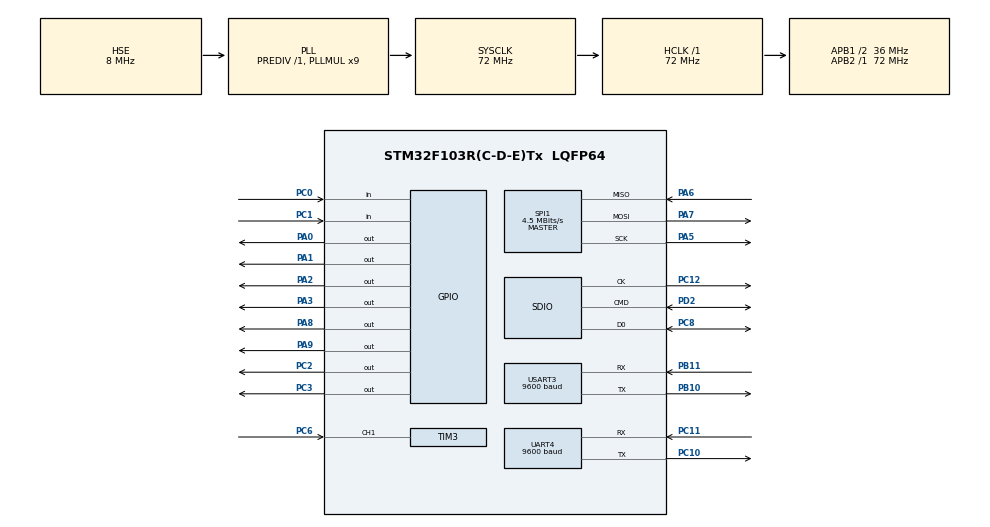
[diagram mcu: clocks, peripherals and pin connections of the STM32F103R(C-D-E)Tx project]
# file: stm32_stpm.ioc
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Mcu.Family=STM32F1
Mcu.Name=STM32F103R(C-D-E)Tx
Mcu.Package=LQFP64
NVIC.PriorityGroup=NVIC_PRIORITYGROUP_4
NVIC.TIM3_IRQn=true\:0\:0\:false\:false\:true\:true\:true\:true
NVIC.UART4_IRQn=true\:0\:0\:false\:false\:true\:true\:true\:true
PA0-WKUP.Signal=GPIO_Output
PA1.Signal=GPIO_Output
PA13.Mode=JTAG_5_pin
PA13.Signal=SYS_JTMS-SWDIO
PA14.Mode=JTAG_5_pin
PA14.Signal=SYS_JTCK-SWCLK
PA15.Mode=JTAG_5_pin
PA15.Signal=SYS_JTDI
PA2.Signal=GPIO_Output
PA3.PinState=GPIO_PIN_SET
PA3.Signal=GPIO_Output
PA4.Signal=SPI1_NSS
PA5.Mode=Full_Duplex_Master
PA5.Signal=SPI1_SCK
PA6.Mode=Full_Duplex_Master
PA6.Signal=SPI1_MISO
PA7.Mode=Full_Duplex_Master
PA7.Signal=SPI1_MOSI
PA8.Signal=GPIO_Output
PA9.Signal=GPIO_Output
PB10.Mode=Asynchronous
PB10.Signal=USART3_TX
PB11.Mode=Asynchronous
PB11.Signal=USART3_RX
PB3.Mode=JTAG_5_pin
PB3.Signal=SYS_JTDO-TRACESWO
PB4.Mode=JTAG_5_pin
PB4.Signal=SYS_NJTRST
PC0.Signal=GPIO_Input
PC1.Signal=GPIO_Input
PC10.Mode=Asynchronous
PC10.Signal=UART4_TX
PC11.Mode=Asynchronous
PC11.Signal=UART4_RX
PC12.Mode=SD_1_bit
PC12.Signal=SDIO_CK
PC14-OSC32_IN.Mode=LSE-External-Oscillator
PC14-OSC32_IN.Signal=RCC_OSC32_IN
PC15-OSC32_OUT.Mode=LSE-External-Oscillator
PC15-OSC32_OUT.Signal=RCC_OSC32_OUT
PC2.Signal=GPIO_Output
PC3.Signal=GPIO_Output
PC6.Signal=S_TIM3_CH1
PC8.Mode=SD_1_bit
PC8.Signal=SDIO_D0
PD0-OSC_IN.Mode=HSE-External-Oscillator
PD0-OSC_IN.Signal=RCC_OSC_IN
PD1-OSC_OUT.Mode=HSE-External-Oscillator
PD1-OSC_OUT.Signal=RCC_OSC_OUT
PD2.Mode=SD_1_bit
PD2.Signal=SDIO_CMD
ProjectManager.HeapSize=0x4000
ProjectManager.StackSize=0x2000
ProjectManager.TargetToolchain=MDK-ARM V5.27
RCC.AHBFreq_Value=72000000
RCC.APB1CLKDivider=RCC_HCLK_DIV2
RCC.APB1Freq_Value=36000000
RCC.APB1TimFreq_Value=72000000
RCC.APB2Freq_Value=72000000
RCC.APB2TimFreq_Value=72000000
RCC.HCLKFreq_Value=72000000
RCC.PLLMUL=RCC_PLL_MUL9
RCC.PLLSourceVirtual=RCC_PLLSOURCE_HSE
RCC.SYSCLKFreq_VALUE=72000000
RCC.SYSCLKSource=RCC_SYSCLKSOURCE_PLLCLK
RCC.USBFreq_Value=48000000
RCC.USBPrescaler=RCC_USBPLLCLK_DIV1_5
SH.S_TIM3_CH1.0=TIM3_CH1,Input_Capture1_from_TI1
SPI1.BaudRatePrescaler=SPI_BAUDRATEPRESCALER_16
SPI1.CLKPhase=SPI_PHASE_2EDGE
SPI1.CLKPolarity=SPI_POLARITY_HIGH
SPI1.CRCCalculation=SPI_CRCCALCULATION_DISABLED
SPI1.CalculateBaudRate=4.5 MBits/s
SPI1.Direction=SPI_DIRECTION_2LINES
SPI1.Mode=SPI_MODE_MASTER
SPI1.VirtualType=VM_MASTER
TIM3.Channel-Input_Capture1_from_TI1=TIM_CHANNEL_1
UART4.BaudRate=9600
UART4.VirtualMode=Asynchronous
USART3.BaudRate=9600
USART3.VirtualMode=VM_ASYNC
VP_FATFS_VS_SDIO.Mode=SDIO
VP_RTC_No_RTC_Output.Mode=RTC OUT
VP_TIM3_VS_ClockSourceINT.Mode=Internal
board=stm32_stpm

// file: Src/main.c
/* USER CODE BEGIN Header */
/**
  ******************************************************************************
  * @file           : main.c
  * @brief          : Main program body
  ******************************************************************************
  * @attention
  *
  * Copyright (c) 2025 STMicroelectronics.
  * All rights reserved.
  *
  * This software is licensed under terms that can be found in the LICENSE file
  * in the root directory of this software component.
  * If no LICENSE file comes with this software, it is provided AS-IS.
  *
  ******************************************************************************
  */
/* USER CODE END Header */
#include "main.h"
#include "fatfs.h"

/* USER CODE BEGIN Includes */
/* Includes ------------------------------------------------------------------*/
#include "stm32f1xx_hal.h"
#include "metroTask.h"
#include "st_device.h"
#include "stdio.h"

/* USER CODE END Includes */

RTC_HandleTypeDef hrtc;

SD_HandleTypeDef hsd;

SPI_HandleTypeDef hspi1;

TIM_HandleTypeDef htim3;

UART_HandleTypeDef huart4;
UART_HandleTypeDef huart3;

/* USER CODE BEGIN PV */
/* Private variables ---------------------------------------------------------*/
TIM_HandleTypeDef htim3;
/* Private variables ---------------------------------------------------------*/
uint32_t uwPrescalerValue = 0;

char gauta_komanda=0;
int timerio_laikas;
char patikra=0;
int laikas1=0;
long long int galia_mW;
long long int itampa_mV;
long long int srove_mA;

char i=0;
	char myData[27] ;

RTC_TimeTypeDef currentTime;
/* USER CODE END PV */

void SystemClock_Config(void);
static void MX_GPIO_Init(void);
static void MX_SPI1_Init(void);
static void MX_TIM3_Init(void);
static void MX_USART3_UART_Init(void);
static void MX_UART4_Init(void);
static void MX_RTC_Init(void);
static void MX_SDIO_SD_Init(void);
/* USER CODE BEGIN PFP */
/* Private function prototypes -----------------------------------------------*/
void SystemClock_Config(void);
static void MX_GPIO_Init(void);
static void MX_TIM3_Init(void);
/* Private function prototypes -----------------------------------------------*/
/* Prescaler declaration */
static void Error_Handler(void);
static void Timer_Init(void);

/* USER CODE END PFP */

/* USER CODE BEGIN 0 */
/* Private function prototypes -----------------------------------------------*/
#ifdef __GNUC__
  /* With GCC/RAISONANCE, small printf (option LD Linker->Libraries->Small printf
     set to 'Yes') calls __io_putchar() */
  #define PUTCHAR_PROTOTYPE int __io_putchar(int ch)
#else
  #define PUTCHAR_PROTOTYPE int fputc(int ch, FILE *f)
#endif /* __GNUC__ */

/**
  * @brief  Retargets the C library printf function to the USART.
  * @param  None
  * @retval None
  */
PUTCHAR_PROTOTYPE
{
    /* Place your implementation of fputc here */
    /* e.g. write a character to the USART */
    HAL_UART_Transmit(&huart4, (uint8_t *)&ch, 1, 100);

    return ch;
}
/* USER CODE END 0 */

int main(void)
{

  /* MCU Configuration--------------------------------------------------------*/

  /* Reset of all peripherals, Initializes the Flash interface and the Systick. */
  HAL_Init();

  /* Configure the system clock */
  SystemClock_Config();

  /* Initialize all configured peripherals */
  MX_GPIO_Init();
  MX_SPI1_Init();
  MX_TIM3_Init();
  MX_USART3_UART_Init();
  MX_UART4_Init();
  MX_RTC_Init();
  MX_SDIO_SD_Init();
  MX_FATFS_Init();
  /* USER CODE BEGIN 2 */
  /**************** Code needed for STPM access *******************/
	    HAL_GPIO_WritePin(LED2_GPIO_type, LED2_GPIO_pin,GPIO_PIN_SET);
			HAL_Delay(10000);
      HAL_GPIO_WritePin(LED2_GPIO_type, LED2_GPIO_pin,GPIO_PIN_RESET);
			printf("STARTAS\r\n");
  /* Init timer for application measure */
  Timer_Init();

	FATFS myFATAFS;
FIL myFILE;
//char abc;
unsigned int testByte;
//FRESULT fr;
 /*   if(f_mount(&myFATAFS,SD_Path, 1)== FR_OK){

	char myPath[] = "TESTAS2.TXT\n";
//			char pradziaaa[]="pradzia\n";
	f_open(&myFILE, myPath, FA_WRITE | FA_CREATE_ALWAYS);

f_close(&myFILE);
	 HAL_GPIO_TogglePin(LED2_GPIO_type, LED2_GPIO_pin);
} */
		int fileNumber =0;
	char name[16];

	//Give a work area to the default drive
	f_mount(&myFATAFS,SD_Path, 1);

	//check if filename exist
	sprintf(name, "test%d.TXT", fileNumber);
	while(f_stat(name,NULL)==FR_OK)
	{
		fileNumber++;
		sprintf(name, "test%d.TXT", fileNumber);
	}

	//if filename is new create file
	f_open(&myFILE, name, FA_WRITE | FA_CREATE_ALWAYS);

  /* Init STPM with complete sequence and set the registers*/
  METRO_Init();/*this function initializes the STPM3x (POR seqiemce),
	//configures the STPM3x by writing internal registers and the selects the latch type*/

  /* Start Timer Channel1 in interrupt mode*/
  if (HAL_TIM_Base_Start_IT(&htim3) != HAL_OK)
  {
    /* Starting Error */
    Error_Handler();
  }
   /***************************************************************/

  /* USER CODE END 2 */

  /* Infinite loop */
  /* USER CODE BEGIN WHILE */
  while (1)

  {
//	HAL_TIM_Base_Stop_IT(&htim3);
//timerio_laikas = __HAL_TIM_GetCounter(&htim3);    //read TIM2 counter value

		//paleidžiamas timeris
//	if((HAL_GPIO_ReadPin(GPIOC,GPIO_PIN_0)+((HAL_GPIO_ReadPin(GPIOC,GPIO_PIN_1))<<1)==1)&&(patikra==0)){
	  /* Start Timer Channel1 in interrupt mode*/
 // if (HAL_TIM_Base_Start_IT(&htim3) != HAL_OK)
 // {
    /* Starting Error */
//    Error_Handler();

//  }
//	patikra=1;

//	METRO_Init();/*this function initializes the STPM3x (POR seqiemce),
	//configures the STPM3x by writing internal registers and the selects the latch type*/
//	}

	//stabdomas timeris /*
//		if((HAL_GPIO_ReadPin(GPIOC,GPIO_PIN_0)+((HAL_GPIO_ReadPin(GPIOC,GPIO_PIN_1))<<1)==0)&&(patikra==1)){
	  /* Start Timer Channel1 in interrupt mode*/
//		HAL_TIM_Base_Stop_IT(&htim3);
//		__HAL_TIM_SET_COUNTER(&htim3, 0);
//	patikra=0;
			//METRO_Init();//
//	}

//		__HAL_TIM_SET_COUNTER(&htim3, 0);
//timerio_laikas = __HAL_TIM_GetCounter(&htim3);    //read TIM2 counter value

//H//AL_TIM_SET_COUNTER(&hTim3, 0);

		//   SLAVE DALIS

		/**************** Measure application ************************/
    if (metroData.metroTimerActive == 1)
    {
			//HAL_TIM_ReadCapturedValue
			//gal cia problema su Latchinimu?
			//HAL_Delay(20); //uzvelint

			gauta_komanda=HAL_GPIO_ReadPin(GPIOC,GPIO_PIN_0)+((HAL_GPIO_ReadPin(GPIOC,GPIO_PIN_1))<<1);
				if(gauta_komanda==1){
					HAL_GPIO_WritePin(GPIOC,GPIO_PIN_2,GPIO_PIN_RESET);
					HAL_GPIO_WritePin(GPIOC,GPIO_PIN_3,GPIO_PIN_SET);}
			else if(gauta_komanda==2){
					HAL_GPIO_WritePin(GPIOC,GPIO_PIN_2,GPIO_PIN_SET);
					HAL_GPIO_WritePin(GPIOC,GPIO_PIN_3,GPIO_PIN_SET);}
			else if(gauta_komanda==3){
					HAL_GPIO_WritePin(GPIOC,GPIO_PIN_2,GPIO_PIN_RESET);
					HAL_GPIO_WritePin(GPIOC,GPIO_PIN_3,GPIO_PIN_RESET);}

	//		HAL_Delay(25); //uzvelint
      METRO_Latch_Measures(); // METRO_latch_Measures: it handles the STPM3x latch
      METRO_Get_Measures();
      METRO_Update_Measures(); // METRO_Update_Measures: it reads the data from the STPM3x

if(f_mount(&myFATAFS,SD_Path, 1)== FR_OK){

//	char myPath[] = "TESTAS2.TXT\n";

	f_open(&myFILE, name, FA_WRITE | FA_OPEN_ALWAYS);
	f_lseek(&myFILE, f_size(&myFILE));
//	i++;
//	printf("%i,\%i,\%i,\%d,\r\n",((metroData.powerActive)*144)/100,(metroData.rmsvoltage),(metroData.rmscurrent*144/100),gauta_komanda);
  //memset(myData, 0, sizeof(myData));
	sprintf(myData, "\n%9i,\%7i,\%5i,\%1d",((metroData.powerActive)*144)/100,(metroData.rmsvoltage),(metroData.rmscurrent*144/100),gauta_komanda);
	HAL_UART_Transmit(&huart4, (uint8_t *)&myData, sizeof(myData), 100);
//	f_puts("\n%i,\%i,\%i,\%d\0",((metroData.powerActive)*144)/100,(metroData.rmsvoltage),(metroData.rmscurrent*144/100),gauta_komanda);
	f_write(&myFILE, myData, sizeof(myData), &testByte);
  f_close(&myFILE);
//	HAL_Delay(10);
	 HAL_GPIO_TogglePin(LED2_GPIO_type, LED2_GPIO_pin);
      metroData.metroTimerActive = 0;

//			printf("%i,\%i,\%i,\%d,\r\n",((metroData.powerActive)*144)/100,(metroData.rmsvoltage),(metroData.rmscurrent*144/100),gauta_komanda);
//			HAL_GPIO_TogglePin(LED2_GPIO_type, LED2_GPIO_pin);

}

	//		laikas1++;
/*
			galia_mW=galia_mW+metroData.powerActive;
			itampa_mV=itampa_mV+metroData.rmsvoltage;
			srove_mA=srove_mA+metroData.rmscurrent;
	  	gauta_komanda=HAL_GPIO_ReadPin(GPIOC,GPIO_PIN_0)+((HAL_GPIO_ReadPin(GPIOC,GPIO_PIN_1))<<1);

//			if(laikas1==10){
//			HAL_Delay(25);
			galia_mW=galia_mW/laikas1;
			itampa_mV=itampa_mV/laikas1;
			srove_mA=srove_mA/laikas1;
	*/
//	gauta_komanda=HAL_GPIO_ReadPin(GPIOC,GPIO_PIN_0)+((HAL_GPIO_ReadPin(GPIOC,GPIO_PIN_1))<<1);

/*
			galia_mW=0;
			itampa_mV=0;
			srove_mA=0;
			laikas1=0; */
			}

    }
   /**************************************************************/

    /* USER CODE END WHILE */

    /* USER CODE BEGIN 3 */

//  }
  /* USER CODE END 3 */
}

void SystemClock_Config(void)
{
  RCC_OscInitTypeDef RCC_OscInitStruct = {0};
  RCC_ClkInitTypeDef RCC_ClkInitStruct = {0};
  RCC_PeriphCLKInitTypeDef PeriphClkInit = {0};

  /** Initializes the RCC Oscillators according to the specified parameters
  * in the RCC_OscInitTypeDef structure.
  */
  RCC_OscInitStruct.OscillatorType = RCC_OSCILLATORTYPE_LSI|RCC_OSCILLATORTYPE_HSE;
  RCC_OscInitStruct.HSEState = RCC_HSE_ON;
  RCC_OscInitStruct.HSEPredivValue = RCC_HSE_PREDIV_DIV1;
  RCC_OscInitStruct.HSIState = RCC_HSI_ON;
  RCC_OscInitStruct.LSIState = RCC_LSI_ON;
  RCC_OscInitStruct.PLL.PLLState = RCC_PLL_ON;
  RCC_OscInitStruct.PLL.PLLSource = RCC_PLLSOURCE_HSE;
  RCC_OscInitStruct.PLL.PLLMUL = RCC_PLL_MUL9;
  if (HAL_RCC_OscConfig(&RCC_OscInitStruct) != HAL_OK)
  {
    Error_Handler();
  }

  /** Initializes the CPU, AHB and APB buses clocks
  */
  RCC_ClkInitStruct.ClockType = RCC_CLOCKTYPE_HCLK|RCC_CLOCKTYPE_SYSCLK
                              |RCC_CLOCKTYPE_PCLK1|RCC_CLOCKTYPE_PCLK2;
  RCC_ClkInitStruct.SYSCLKSource = RCC_SYSCLKSOURCE_PLLCLK;
  RCC_ClkInitStruct.AHBCLKDivider = RCC_SYSCLK_DIV1;
  RCC_ClkInitStruct.APB1CLKDivider = RCC_HCLK_DIV2;
  RCC_ClkInitStruct.APB2CLKDivider = RCC_HCLK_DIV1;

  if (HAL_RCC_ClockConfig(&RCC_ClkInitStruct, FLASH_LATENCY_2) != HAL_OK)
  {
    Error_Handler();
  }
  PeriphClkInit.PeriphClockSelection = RCC_PERIPHCLK_RTC;
  PeriphClkInit.RTCClockSelection = RCC_RTCCLKSOURCE_LSI;
  if (HAL_RCCEx_PeriphCLKConfig(&PeriphClkInit) != HAL_OK)
  {
    Error_Handler();
  }
}

static void MX_RTC_Init(void)
{

  RTC_TimeTypeDef sTime = {0};
  RTC_DateTypeDef DateToUpdate = {0};

  /** Initialize RTC and set the Time and Date
  */
  hrtc.Instance = RTC;
  hrtc.Init.AsynchPrediv = RTC_AUTO_1_SECOND;
  hrtc.Init.OutPut = RTC_OUTPUTSOURCE_NONE;
  if (HAL_RTC_Init(&hrtc) != HAL_OK)
  {
    Error_Handler();
  }
  sTime.Hours = 0x1;
  sTime.Minutes = 0x0;
  sTime.Seconds = 0x0;

  if (HAL_RTC_SetTime(&hrtc, &sTime, FORMAT_BCD) != HAL_OK)
  {
    Error_Handler();
  }
  DateToUpdate.WeekDay = RTC_WEEKDAY_MONDAY;
  DateToUpdate.Month = RTC_MONTH_JANUARY;
  DateToUpdate.Date = 0x1;
  DateToUpdate.Year = 0x0;

  if (HAL_RTC_SetDate(&hrtc, &DateToUpdate, FORMAT_BCD) != HAL_OK)
  {
    Error_Handler();
  }

}

static void MX_SDIO_SD_Init(void)
{

  hsd.Instance = SDIO;
  hsd.Init.ClockEdge = SDIO_CLOCK_EDGE_RISING;
  hsd.Init.ClockBypass = SDIO_CLOCK_BYPASS_DISABLE;
  hsd.Init.ClockPowerSave = SDIO_CLOCK_POWER_SAVE_DISABLE;
  hsd.Init.BusWide = SDIO_BUS_WIDE_1B;
  hsd.Init.HardwareFlowControl = SDIO_HARDWARE_FLOW_CONTROL_DISABLE;
  hsd.Init.ClockDiv = 0;

}

static void MX_SPI1_Init(void)
{

  /* SPI1 parameter configuration*/
  hspi1.Instance = SPI1;
  hspi1.Init.Mode = SPI_MODE_MASTER;
  hspi1.Init.Direction = SPI_DIRECTION_2LINES;
  hspi1.Init.DataSize = SPI_DATASIZE_8BIT;
  hspi1.Init.CLKPolarity = SPI_POLARITY_HIGH;
  hspi1.Init.CLKPhase = SPI_PHASE_2EDGE;
  hspi1.Init.NSS = SPI_NSS_SOFT;
  hspi1.Init.BaudRatePrescaler = SPI_BAUDRATEPRESCALER_16;
  hspi1.Init.FirstBit = SPI_FIRSTBIT_MSB;
  hspi1.Init.TIMode = SPI_TIMODE_DISABLED;
  hspi1.Init.CRCCalculation = SPI_CRCCALCULATION_DISABLED;
  hspi1.Init.CRCPolynomial = 10;
  if (HAL_SPI_Init(&hspi1) != HAL_OK)
  {
    Error_Handler();
  }

}

static void MX_TIM3_Init(void)
{

  TIM_ClockConfigTypeDef sClockSourceConfig = {0};
  TIM_MasterConfigTypeDef sMasterConfig = {0};
  TIM_IC_InitTypeDef sConfigIC = {0};

  htim3.Instance = TIM3;
  htim3.Init.Prescaler = 0;
  htim3.Init.CounterMode = TIM_COUNTERMODE_UP;
  htim3.Init.Period = 0;
  htim3.Init.ClockDivision = TIM_CLOCKDIVISION_DIV1;
  if (HAL_TIM_Base_Init(&htim3) != HAL_OK)
  {
    Error_Handler();
  }
  sClockSourceConfig.ClockSource = TIM_CLOCKSOURCE_INTERNAL;
  if (HAL_TIM_ConfigClockSource(&htim3, &sClockSourceConfig) != HAL_OK)
  {
    Error_Handler();
  }
  if (HAL_TIM_IC_Init(&htim3) != HAL_OK)
  {
    Error_Handler();
  }
  sMasterConfig.MasterOutputTrigger = TIM_TRGO_RESET;
  sMasterConfig.MasterSlaveMode = TIM_MASTERSLAVEMODE_DISABLE;
  if (HAL_TIMEx_MasterConfigSynchronization(&htim3, &sMasterConfig) != HAL_OK)
  {
    Error_Handler();
  }
  sConfigIC.ICPolarity = TIM_INPUTCHANNELPOLARITY_RISING;
  sConfigIC.ICSelection = TIM_ICSELECTION_DIRECTTI;
  sConfigIC.ICPrescaler = TIM_ICPSC_DIV1;
  sConfigIC.ICFilter = 0;
  if (HAL_TIM_IC_ConfigChannel(&htim3, &sConfigIC, TIM_CHANNEL_1) != HAL_OK)
  {
    Error_Handler();
  }

}

static void MX_UART4_Init(void)
{

  huart4.Instance = UART4;
  huart4.Init.BaudRate = 9600;
  huart4.Init.HwFlowCtl = UART_HWCONTROL_NONE;
  huart4.Init.OverSampling = UART_OVERSAMPLING_16;
  if (HAL_UART_Init(&huart4) != HAL_OK)
  {
    Error_Handler();
  }

}

static void MX_USART3_UART_Init(void)
{

  huart3.Instance = USART3;
  huart3.Init.BaudRate = 9600;
  huart3.Init.HwFlowCtl = UART_HWCONTROL_NONE;
  huart3.Init.OverSampling = UART_OVERSAMPLING_16;
  if (HAL_UART_Init(&huart3) != HAL_OK)
  {
    Error_Handler();
  }

}

static void MX_GPIO_Init(void)
{
  GPIO_InitTypeDef GPIO_InitStruct = {0};

  /* GPIO Ports Clock Enable */
  __GPIOC_CLK_ENABLE();
  __GPIOD_CLK_ENABLE();
  __GPIOA_CLK_ENABLE();
  __GPIOB_CLK_ENABLE();

  /*Configure GPIO pin Output Level */
  HAL_GPIO_WritePin(GPIOC, GPIO_PIN_2|GPIO_PIN_3, GPIO_PIN_RESET);

  /*Configure GPIO pin Output Level */
  HAL_GPIO_WritePin(GPIOA, GPIO_PIN_0|GPIO_PIN_1|GPIO_PIN_2|GPIO_PIN_8
                          |GPIO_PIN_9, GPIO_PIN_RESET);

  /*Configure GPIO pin Output Level */
  HAL_GPIO_WritePin(GPIOA, GPIO_PIN_3, GPIO_PIN_SET);

  /*Configure GPIO pins : PC0 PC1 */
  GPIO_InitStruct.Pin = GPIO_PIN_0|GPIO_PIN_1;
  GPIO_InitStruct.Mode = GPIO_MODE_INPUT;
  GPIO_InitStruct.Pull = GPIO_NOPULL;
  HAL_GPIO_Init(GPIOC, &GPIO_InitStruct);

  /*Configure GPIO pins : PC2 PC3 */
  GPIO_InitStruct.Pin = GPIO_PIN_2|GPIO_PIN_3;
  GPIO_InitStruct.Mode = GPIO_MODE_OUTPUT_PP;
  GPIO_InitStruct.Speed = GPIO_SPEED_LOW;
  HAL_GPIO_Init(GPIOC, &GPIO_InitStruct);

  /*Configure GPIO pins : PA0 PA1 PA2 PA3
                           PA8 PA9 */
  GPIO_InitStruct.Pin = GPIO_PIN_0|GPIO_PIN_1|GPIO_PIN_2|GPIO_PIN_3
                          |GPIO_PIN_8|GPIO_PIN_9;
  GPIO_InitStruct.Mode = GPIO_MODE_OUTPUT_PP;
  GPIO_InitStruct.Speed = GPIO_SPEED_LOW;
  HAL_GPIO_Init(GPIOA, &GPIO_InitStruct);

}

/* USER CODE BEGIN 4 */
  /**************** Code needed for simple application *******************/

/**
  * @brief  Period elapsed callback in non blocking mode
  * @param  htim : TIM handle
  * @retval None
  */
void HAL_TIM_PeriodElapsedCallback(TIM_HandleTypeDef *htim)
{
  metroData.metroTimerActive = 1;
}
/**
  * @brief  Configure timer with 1s period
  * @param  None
  * @retval None
  */

static void Timer_Init()
{
    /*##-1- Configure the TIM peripheral #######################################*/
  /* -----------------------------------------------------------------------
    In this example TIM3 input clock (TIM3CLK)  is set to APB1 clock (PCLK1) x2,
    since APB1 prescaler is set to 4 (0x100).
       TIM3CLK = PCLK1*2
       PCLK1   = HCLK/2
    => TIM3CLK = PCLK1*2 = (HCLK/2)*2 = HCLK = SystemCoreClock
    To get TIM3 counter clock at 10 KHz, the Prescaler is computed as following:
    Prescaler = (TIM3CLK / TIM3 counter clock) - 1
    Prescaler = (SystemCoreClock /10 KHz) - 1

    Note:
     SystemCoreClock variable holds HCLK frequency and is defined in system_stm32f1xx.c file.
     Each time the core clock (HCLK) changes, user had to update SystemCoreClock
     variable value. Otherwise, any configuration based on this variable will be incorrect.
     This variable is updated in three ways:
      1) by calling CMSIS function SystemCoreClockUpdate()
      2) by calling HAL API function HAL_RCC_GetSysClockFreq()
      3) each time HAL_RCC_ClockConfig() is called to configure the system clock frequency
  ----------------------------------------------------------------------- */

  /* Compute the prescaler value to have TIMx counter clock equal to 10000 Hz */
  uwPrescalerValue = (uint32_t)(SystemCoreClock / 10000) - 1;

  /* Set TIMx instance */
  htim3.Instance = TIM3;

  /* Initialize TIMx peripheral as follows:
       + Period = 10000 - 1
       + Prescaler = (SystemCoreClock/10000) - 1
       + ClockDivision = 0
       + Counter direction = Up
  */
  htim3.Init.Period            = 2000 - 1;
  htim3.Init.Prescaler         = uwPrescalerValue;
  htim3.Init.ClockDivision     = 0;
  htim3.Init.CounterMode       = TIM_COUNTERMODE_UP;
  htim3.Init.RepetitionCounter = 0;

  if (HAL_TIM_Base_Init(&htim3) != HAL_OK)
  {
    /* Initialization Error */
    Error_Handler();
  }

}

/**
  * @brief  This function is executed in case of error occurrence.
  * @param  None
  * @retval None
  */
static void Error_Handler(void)
{
  while (1)
  {
  }
}

 /***************************************************************/

/* USER CODE END 4 */

void Error_Handler(void)
{
  __disable_irq();
  while (1)
  {
  }
}
